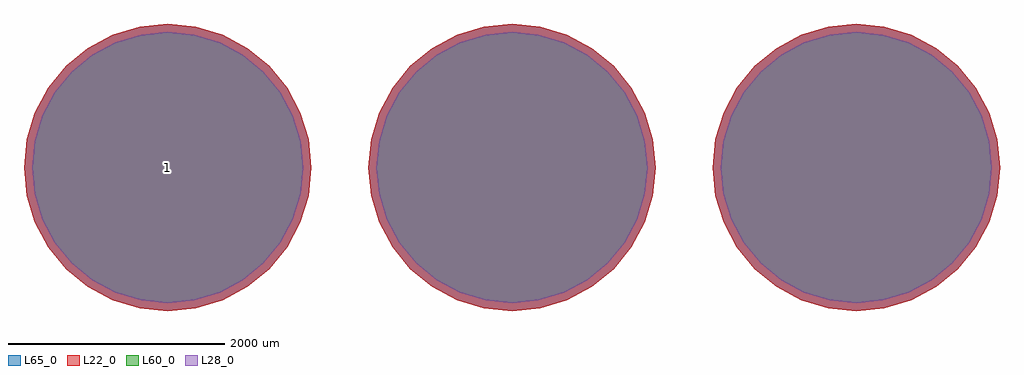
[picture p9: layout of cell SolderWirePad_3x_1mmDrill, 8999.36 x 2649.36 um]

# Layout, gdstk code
import gdstk
lib = gdstk.Library(unit=1e-6, precision=1e-09)
def P(c, l, *ps):  # polygons
    for p in ps: c.add(gdstk.Polygon(p, *l))
L22_0 = (22, 0)
L28_0 = (28, 0)
L60_0 = (60, 0)
L65_0 = (65, 0)

solderwirepad_3x_1mmdril = lib.new_cell('SolderWirePad_3x_1mmDrill')
P(solderwirepad_3x_1mmdril, L22_0, [(4499.68,0),(4474.227,258.432),(4398.845,506.933),(4276.431,735.953),(4111.69,936.69),(3910.953,1101.431),(3681.933,1223.845),(3433.432,1299.227),(3175,1324.68),(2916.568,1299.227),(2668.067,1223.845),(2439.047,1101.431),(2238.31,936.69),(2073.569,735.953),(1951.155,506.933),(1875.773,258.432),(1850.32,0),(1875.773,-258.432),(1951.155,-506.933),(2073.569,-735.953),(2238.31,-936.69),(2439.047,-1101.431),(2668.067,-1223.845),(2916.568,-1299.227),(3175,-1324.68),(3433.432,-1299.227),(3681.933,-1223.845),(3910.953,-1101.431),(4111.69,-936.69),(4276.431,-735.953),(4398.845,-506.933),(4474.227,-258.432)],
  [(1324.68,0),(1299.227,258.432),(1223.845,506.933),(1101.431,735.953),(936.69,936.69),(735.953,1101.431),(506.933,1223.845),(258.432,1299.227),(0,1324.68),(-258.432,1299.227),(-506.933,1223.845),(-735.953,1101.431),(-936.69,936.69),(-1101.431,735.953),(-1223.845,506.933),(-1299.227,258.432),(-1324.68,0),(-1299.227,-258.432),(-1223.845,-506.933),(-1101.431,-735.953),(-936.69,-936.69),(-735.953,-1101.431),(-506.933,-1223.845),(-258.432,-1299.227),(0,-1324.68),(258.432,-1299.227),(506.933,-1223.845),(735.953,-1101.431),(936.69,-936.69),(1101.431,-735.953),(1223.845,-506.933),(1299.227,-258.432)],
  [(-1850.32,0),(-1875.773,258.432),(-1951.155,506.933),(-2073.569,735.953),(-2238.31,936.69),(-2439.047,1101.431),(-2668.067,1223.845),(-2916.568,1299.227),(-3175,1324.68),(-3433.432,1299.227),(-3681.933,1223.845),(-3910.953,1101.431),(-4111.69,936.69),(-4276.431,735.953),(-4398.845,506.933),(-4474.227,258.432),(-4499.68,0),(-4474.227,-258.432),(-4398.845,-506.933),(-4276.431,-735.953),(-4111.69,-936.69),(-3910.953,-1101.431),(-3681.933,-1223.845),(-3433.432,-1299.227),(-3175,-1324.68),(-2916.568,-1299.227),(-2668.067,-1223.845),(-2439.047,-1101.431),(-2238.31,-936.69),(-2073.569,-735.953),(-1951.155,-506.933),(-1875.773,-258.432)])
P(solderwirepad_3x_1mmdril, L28_0, [(4424.68,0),(4400.668,243.8),(4329.554,478.232),(4214.071,694.285),(4058.657,883.657),(3869.285,1039.071),(3653.232,1154.554),(3418.8,1225.668),(3175,1249.68),(2931.2,1225.668),(2696.768,1154.554),(2480.715,1039.071),(2291.343,883.657),(2135.929,694.285),(2020.446,478.232),(1949.332,243.8),(1925.32,0),(1949.332,-243.8),(2020.446,-478.232),(2135.929,-694.285),(2291.343,-883.657),(2480.715,-1039.071),(2696.768,-1154.554),(2931.2,-1225.668),(3175,-1249.68),(3418.8,-1225.668),(3653.232,-1154.554),(3869.285,-1039.071),(4058.657,-883.657),(4214.071,-694.285),(4329.554,-478.232),(4400.668,-243.8)],
  [(1249.68,0),(1225.668,243.8),(1154.554,478.232),(1039.071,694.285),(883.657,883.657),(694.285,1039.071),(478.232,1154.554),(243.8,1225.668),(0,1249.68),(-243.8,1225.668),(-478.232,1154.554),(-694.285,1039.071),(-883.657,883.657),(-1039.071,694.285),(-1154.554,478.232),(-1225.668,243.8),(-1249.68,0),(-1225.668,-243.8),(-1154.554,-478.232),(-1039.071,-694.285),(-883.657,-883.657),(-694.285,-1039.071),(-478.232,-1154.554),(-243.8,-1225.668),(0,-1249.68),(243.8,-1225.668),(478.232,-1154.554),(694.285,-1039.071),(883.657,-883.657),(1039.071,-694.285),(1154.554,-478.232),(1225.668,-243.8)],
  [(-1925.32,0),(-1949.332,243.8),(-2020.446,478.232),(-2135.929,694.285),(-2291.343,883.657),(-2480.715,1039.071),(-2696.768,1154.554),(-2931.2,1225.668),(-3175,1249.68),(-3418.8,1225.668),(-3653.232,1154.554),(-3869.285,1039.071),(-4058.657,883.657),(-4214.071,694.285),(-4329.554,478.232),(-4400.668,243.8),(-4424.68,0),(-4400.668,-243.8),(-4329.554,-478.232),(-4214.071,-694.285),(-4058.657,-883.657),(-3869.285,-1039.071),(-3653.232,-1154.554),(-3418.8,-1225.668),(-3175,-1249.68),(-2931.2,-1225.668),(-2696.768,-1154.554),(-2480.715,-1039.071),(-2291.343,-883.657),(-2135.929,-694.285),(-2020.446,-478.232),(-1949.332,-243.8)])
P(solderwirepad_3x_1mmdril, L60_0, [(4424.68,0),(4400.668,243.8),(4329.554,478.232),(4214.071,694.285),(4058.657,883.657),(3869.285,1039.071),(3653.232,1154.554),(3418.8,1225.668),(3175,1249.68),(2931.2,1225.668),(2696.768,1154.554),(2480.715,1039.071),(2291.343,883.657),(2135.929,694.285),(2020.446,478.232),(1949.332,243.8),(1925.32,0),(1949.332,-243.8),(2020.446,-478.232),(2135.929,-694.285),(2291.343,-883.657),(2480.715,-1039.071),(2696.768,-1154.554),(2931.2,-1225.668),(3175,-1249.68),(3418.8,-1225.668),(3653.232,-1154.554),(3869.285,-1039.071),(4058.657,-883.657),(4214.071,-694.285),(4329.554,-478.232),(4400.668,-243.8)],
  [(1249.68,0),(1225.668,243.8),(1154.554,478.232),(1039.071,694.285),(883.657,883.657),(694.285,1039.071),(478.232,1154.554),(243.8,1225.668),(0,1249.68),(-243.8,1225.668),(-478.232,1154.554),(-694.285,1039.071),(-883.657,883.657),(-1039.071,694.285),(-1154.554,478.232),(-1225.668,243.8),(-1249.68,0),(-1225.668,-243.8),(-1154.554,-478.232),(-1039.071,-694.285),(-883.657,-883.657),(-694.285,-1039.071),(-478.232,-1154.554),(-243.8,-1225.668),(0,-1249.68),(243.8,-1225.668),(478.232,-1154.554),(694.285,-1039.071),(883.657,-883.657),(1039.071,-694.285),(1154.554,-478.232),(1225.668,-243.8)],
  [(-1925.32,0),(-1949.332,243.8),(-2020.446,478.232),(-2135.929,694.285),(-2291.343,883.657),(-2480.715,1039.071),(-2696.768,1154.554),(-2931.2,1225.668),(-3175,1249.68),(-3418.8,1225.668),(-3653.232,1154.554),(-3869.285,1039.071),(-4058.657,883.657),(-4214.071,694.285),(-4329.554,478.232),(-4400.668,243.8),(-4424.68,0),(-4400.668,-243.8),(-4329.554,-478.232),(-4214.071,-694.285),(-4058.657,-883.657),(-3869.285,-1039.071),(-3653.232,-1154.554),(-3418.8,-1225.668),(-3175,-1249.68),(-2931.2,-1225.668),(-2696.768,-1154.554),(-2480.715,-1039.071),(-2291.343,-883.657),(-2135.929,-694.285),(-2020.446,-478.232),(-1949.332,-243.8)])
P(solderwirepad_3x_1mmdril, L65_0, [(4499.68,0),(4474.227,258.432),(4398.845,506.933),(4276.431,735.953),(4111.69,936.69),(3910.953,1101.431),(3681.933,1223.845),(3433.432,1299.227),(3175,1324.68),(2916.568,1299.227),(2668.067,1223.845),(2439.047,1101.431),(2238.31,936.69),(2073.569,735.953),(1951.155,506.933),(1875.773,258.432),(1850.32,0),(1875.773,-258.432),(1951.155,-506.933),(2073.569,-735.953),(2238.31,-936.69),(2439.047,-1101.431),(2668.067,-1223.845),(2916.568,-1299.227),(3175,-1324.68),(3433.432,-1299.227),(3681.933,-1223.845),(3910.953,-1101.431),(4111.69,-936.69),(4276.431,-735.953),(4398.845,-506.933),(4474.227,-258.432)],
  [(1324.68,0),(1299.227,258.432),(1223.845,506.933),(1101.431,735.953),(936.69,936.69),(735.953,1101.431),(506.933,1223.845),(258.432,1299.227),(0,1324.68),(-258.432,1299.227),(-506.933,1223.845),(-735.953,1101.431),(-936.69,936.69),(-1101.431,735.953),(-1223.845,506.933),(-1299.227,258.432),(-1324.68,0),(-1299.227,-258.432),(-1223.845,-506.933),(-1101.431,-735.953),(-936.69,-936.69),(-735.953,-1101.431),(-506.933,-1223.845),(-258.432,-1299.227),(0,-1324.68),(258.432,-1299.227),(506.933,-1223.845),(735.953,-1101.431),(936.69,-936.69),(1101.431,-735.953),(1223.845,-506.933),(1299.227,-258.432)],
  [(-1850.32,0),(-1875.773,258.432),(-1951.155,506.933),(-2073.569,735.953),(-2238.31,936.69),(-2439.047,1101.431),(-2668.067,1223.845),(-2916.568,1299.227),(-3175,1324.68),(-3433.432,1299.227),(-3681.933,1223.845),(-3910.953,1101.431),(-4111.69,936.69),(-4276.431,735.953),(-4398.845,506.933),(-4474.227,258.432),(-4499.68,0),(-4474.227,-258.432),(-4398.845,-506.933),(-4276.431,-735.953),(-4111.69,-936.69),(-3910.953,-1101.431),(-3681.933,-1223.845),(-3433.432,-1299.227),(-3175,-1324.68),(-2916.568,-1299.227),(-2668.067,-1223.845),(-2439.047,-1101.431),(-2238.31,-936.69),(-2073.569,-735.953),(-1951.155,-506.933),(-1875.773,-258.432)])
solderwirepad_3x_1mmdril.add(gdstk.Label('1', (-3175,0), layer=28, texttype=0))
solderwirepad_3x_1mmdril.add(gdstk.Label('type', (-1270,-3175), layer=9, texttype=0))
solderwirepad_3x_1mmdril.add(gdstk.Label('devicename', (0,3810), layer=9, texttype=0))

lib.write_gds('SolderWirePad_3x_1mmDrill.gds')
